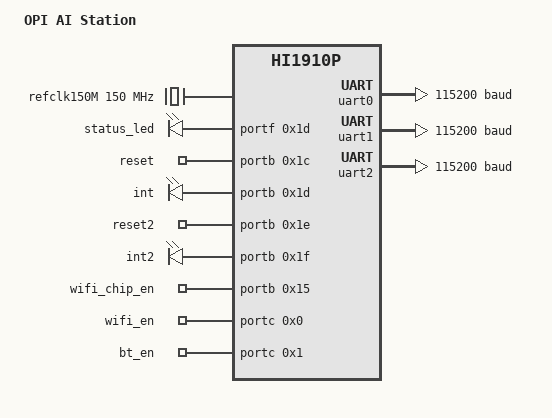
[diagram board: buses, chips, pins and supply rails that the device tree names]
/dts-v1/;

/memreserve/    0x0000000000000000 0x0000000000010000;
/ {
    compatible = "hisilicon,hi1910p-evb", "hisilicon,ascend610";
    hisi,boardid = <0 2 1 4>;
    aicpu_partial_good_enable = <0>;
    #address-cells = <0x2>;
    #size-cells = <0x2>;
    interrupt-parent = <0x1>;
    model = "OPI AI Station";

    socworkmode: socworkmode {
        compatible = "socworkmode";
        is_actstd = <0>;
        is_loadbalanc = <0>;
        total_chipnum = <1>;
        phy_log_map = <0>;
        domain_mode = <0>;
    };

    soc {
        compatible = "simple-bus";
        #address-cells = <0x2>;
        #size-cells = <0x2>;
        ranges;

        uart0: uart@840C0000 {
            compatible = "arm,sbsa-uart";
            reg = <0x0 0x840c0000 0x0 0x10000>;
            interrupts = <0x0 0x147 0x4>;    /* interrupt 359 */
            current-speed = <0x1c200>;
        };

        refclk150M: refclk150M {
            compatible = "fixed-clock";
            #clock-cells = <0>;
            clock-frequency = <150000000>;
            clock-output-names = "refclk";
        };

        uart1: uart@8B040000 {
            compatible = "arm,pl011", "arm,primecell";
            reg = <0x00 0x8b040000 0x00 0x1000>; //配置为UART基地址
            interrupts = <0x00 0x13d 0x04>;       //配置UART中断号
            current-speed = <0x1c200>;
            arm,primecell-periphid = <0x00241011>;
            clocks = <&refclk150M>;
            clock-names = "apb_pclk";
            no-flow-ctrl;  // Avoid chip uart register arrangement is inconsistent with pl011
            pinctrl-names = "default", "idle";
            pinctrl-0 = <&iomg002_pmx_func &iomg003_pmx_func>;    //工作状态
            pinctrl-1 = <&iomg002_pmx_idle &iomg003_pmx_idle>;    //休眠状态
        };
        uart2: uart@8B050000 {
            compatible = "arm,pl011", "arm,primecell";
            reg = < 0x00 0x8b050000 0x00 0x1000 >; //配置为UART基地址
            interrupts = < 0x00 0x13e 0x04 >;       //配置UART中断号
            current-speed = < 0x1c200 >;
            arm,primecell-periphid = <0x00241011>;
            clocks = <&refclk150M>;
            clock-names = "apb_pclk";
            no-flow-ctrl;  // Avoid chip uart register arrangement is inconsistent with pl011
            pinctrl-names = "default", "idle";
            pinctrl-0 = <&iomg005_pmx_func &iomg004_pmx_func>;    //工作状态
            pinctrl-1 = <&iomg005_pmx_idle &iomg004_pmx_idle>;    //休眠状态
        };
	//uart9: uart@A4720000 {
        //    compatible = "arm,pl011", "arm,primecell";
        //    reg = < 0x00 0xA4720000 0x00 0x1000 >; //配置为UART基地址
        //    interrupts = < 0x00 0x14b 0x04 >;       //配置UART中断号
        //    current-speed = < 0x1c200 >;
        //    arm,primecell-periphid = <0x00241011>;
        //    clocks = <&refclk200M>;
        //    clock-names = "apb_pclk";
        //    no-flow-ctrl;  // Avoid chip uart register arrangement is inconsistent with pl011
        //    pinctrl-names = "default", "idle";
        //    pinctrl-0 = <&iomg005_pmx_func &iomg004_pmx_func>;    //工作状态
        //    pinctrl-1 = <&iomg005_pmx_idle &iomg004_pmx_idle>;    //休眠状态
        //};

    };

    leds: gpio-leds {
        compatible = "gpio-leds";
        pinctrl-names = "default", "idle";
        pinctrl-0 = <&gpio189_pmx_func &iomg060_pmx_func &iomg061_pmx_func &iomg062_pmx_func &iomg063_pmx_func &iomg053_pmx_func &iomg064_pmx_func &iomg065_pmx_func>;
        pinctrl-1 = <&gpio189_pmx_idle &iomg060_pmx_idle &iomg061_pmx_idle &iomg062_pmx_idle &iomg063_pmx_idle &iomg053_pmx_idle &iomg064_pmx_idle &iomg065_pmx_idle>;
        status = "okay";

        led@0 {
            gpios = <&portf 0x1d 0>;
            label = "status_led";
            linux,default-trigger = "heartbeat";
            linux,default-trigger-delay-ms = <0>;
        };

        led1@1 {
            gpios = <&portb 0x1c 0>;
            label = "reset";
            linux,default-trigger = "default-on";
        };

        led2@2 {
            gpios = <&portb 0x1d 0>;
            label = "int";
            linux,default-trigger = "default-on";
        };

        led3@3 {
            gpios = <&portb 0x1e 0>;
            label = "reset2";
            linux,default-trigger = "default-on";
        };

        led4@4 {
            gpios = <&portb 0x1f 0>;
            label = "int2";
            linux,default-trigger = "default-on";
        };

        led5@5 {
            gpios = <&portb 0x15 0>;
            label = "wifi_chip_en";
            linux,default-trigger = "default-on";
        };

        led6@6 {
            gpios = <&portc 0x0 0>;
            label = "wifi_en";
            linux,default-trigger = "default-on";
        };

        led7@7 {
            gpios = <&portc 0x1 0>;
            label = "bt_en";
            linux,default-trigger = "default-on";
        };
    };

    chosen {
        bootargs = "console=ttyAMA0,115200 crashkernel=200M rw rdinit=/sbin/init root=/dev/cpsVG/rootfs selinux=0 systemd.debug_shell syslog no_console_suspend fbcon=map:3 earlycon=pl011,mmio32,0x840c0000 initrd=0x880002100,450M rootwait log_redirect=0x1fc000@0xb101000 cma=256M default_hugepagesz=2M panic=3 ascend_enable_all sbsa_gwdt.action=2 watchdog.sysfs_write=1 use_kallsyms_lookup_symbol hardlockup_cpu_freq=1900000 coredump_filter=0x31 enable_ascend_share_pool enable_sp_multi_group_mode bootdot=0x1C8@0x312F1108 osname=AOS_DP loglevel=1";
    };

    // 64M
    // chosen {
    //     bootargs = "console=ttyAMA0,115200 crashkernel=200M rw rdinit=/sbin/init root=/dev/cpsVG/rootfs selinux=0 systemd.debug_shell syslog no_console_suspend fbcon=map:3 earlycon=pl011,mmio32,0x840c0000 initrd=0x880002100,450M rootwait log_redirect=0x1fc000@0xb101000 cma=256M default_hugepagesz=2M panic=3 ascend_enable_all sbsa_gwdt.action=2 watchdog.sysfs_write=1 use_kallsyms_lookup_symbol hardlockup_cpu_freq=1900000 coredump_filter=0x31 enable_ascend_share_pool enable_sp_multi_group_mode bootdot=0x1C8@0x312F1108 osname=AOS_DP loglevel=1 pci=assign-busses,realloc,hpmemsize=64M,nocrs";
    // };

    /include/ "helper-kernel-1p-AG.dtsi"
    /include/ "hi1910p-lp.dtsi"
    /include/ "hi1910p-fpga-mntn-dc.dtsi"
    /include/ "hi1910p-smmu-common.dtsi"
    /include/ "hi1910p-retr.dtsi"
    /include/ "hi1910p-iTrustee.dtsi"
    /include/ "hi1910p-asic-gpio.dtsi"
    /include/ "helper-gpio-pinctrl-925.dtsi"
    /include/ "hi1910p-ipcdrv.dtsi"
    /include/ "hi1910p-server-asic-spi.dtsi"
    /include/ "hi1910p-server-asic-i2c.dtsi"
    /include/ "helper-evb-emmc.dtsi"
    /include/ "hi1910p-ts-dc-drv.dtsi"
    /include/ "hi1910p-dc-fpga-devdrv.dtsi"
    /include/ "hi1910p-fpga-hidvpp.dtsi"
    /include/ "hi1910p-mbigen-peri.dtsi"
    /include/ "hi1910p-mbigen-io.dtsi"
    /include/ "hi1910p-mbigen-media.dtsi"
    /include/ "hi1910p-mbigen-ao.dtsi"
    /include/ "hi1910p-evb-svm.dtsi"
    /include/ "hi1910p-power-off.dtsi"
    /include/ "hi1910p-soc-xge.dtsi"
    /include/ "hi1910p-soc-asic-pci.dtsi"
    /include/ "hi1910p-hsmdrv.dtsi"
    /include/ "hi1910p-can-925.dtsi"
};
